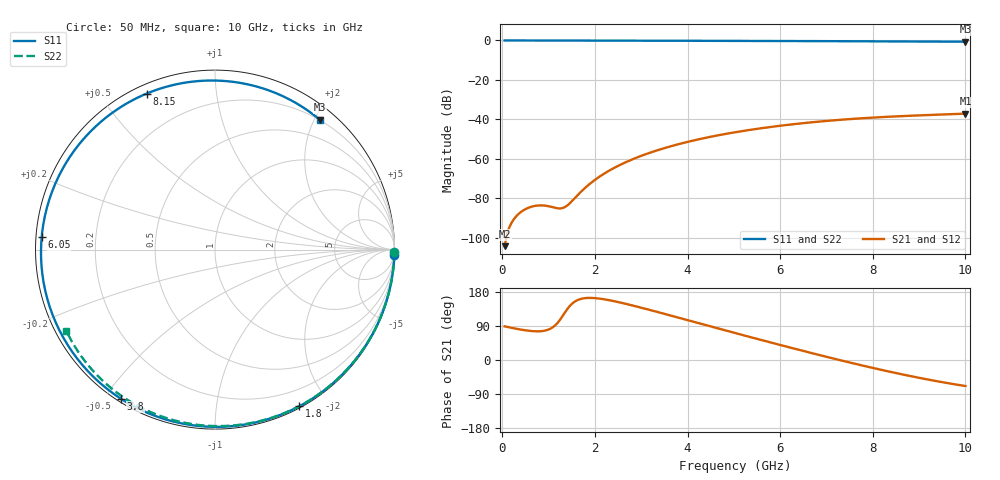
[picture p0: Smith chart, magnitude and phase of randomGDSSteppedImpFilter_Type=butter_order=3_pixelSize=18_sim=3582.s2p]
! freq	dB(S11)	phase(S11)	dB(S12)	phase(S12)
!  dB(S21)	phase(S21)	dB(S22)	phase(S22)
!S-par simulation data
#  GHz  S  DB  R 50
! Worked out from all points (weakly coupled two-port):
!   200 points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, 50 MHz to 10 GHz, reference 50 ohm
!   highest |S21| = -37.10 dB at 10 GHz (marker M1); lowest = -104.3 dB at 50 MHz (marker M2)
!   lowest |S11| = -0.6 dB at 10 GHz (marker M3), VSWR 27.40, Z = 9.72 + j104 ohm
!   |S11| at or under -10 dB: nowhere
!   |S22| runs from -0.5 to 0.0 dB; largest |S21 - S12| = 0
!   S11 on the Smith chart (normalised r, x): 50 MHz: 0, -64; 1.8 GHz: 0.02, -1.67; 3.8 GHz: 0.01, -0.55; 6.05 GHz: 0.02, +0.04; 8.15 GHz: 0.04, +0.65; 10 GHz: 0.19, +2.07
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0.05  -0.00 -1.8  -104.26 88.9  -104.26 88.9  -0.00 -0.9
0.75  -0.03 -26.4  -83.71 75.6  -83.71 75.6  -0.02 -13.0
1.55  -0.07 -53.5  -80.29 152.9  -80.29 152.9  -0.03 -26.7
1.75  -0.07 -60.1  -75.53 162.6  -75.53 162.6  -0.04 -30.1
1.8  -0.08 -61.8  -74.46 163.4  -74.46 163.4  -0.04 -30.9
2.1  -0.09 -71.4  -69.01 162.0  -69.01 162.0  -0.05 -35.9
2.45  -0.10 -82.4  -64.17 154.3  -64.17 154.3  -0.05 -41.7
2.9  -0.12 -96.1  -59.39 141.2  -59.39 141.2  -0.06 -49.1
3.4  -0.14 -110.8  -55.28 125.1  -55.28 125.1  -0.08 -57.1
3.8  -0.15 -122.2  -52.59 111.9  -52.59 111.9  -0.09 -63.4
4.45  -0.18 -140.3  -49.05 90.3  -49.05 90.3  -0.11 -73.4
5.05  -0.22 -156.7  -46.44 70.4  -46.44 70.4  -0.13 -82.4
5.55  -0.25 -170.4  -44.62 54.1  -44.62 54.1  -0.15 -89.8
6.05  -0.28 175.8  -43.08 38.1  -43.08 38.1  -0.17 -97.0
6.7  -0.33 157.5  -41.43 17.6  -41.43 17.6  -0.21 -106.1
7.4  -0.39 136.9  -40.03 -3.6  -40.03 -3.6  -0.25 -115.8
8.15  -0.45 113.7  -38.90 -25.1  -38.90 -25.1  -0.31 -126.1
8.35  -0.47 107.2  -38.65 -30.5  -38.65 -30.5  -0.33 -128.8
8.75  -0.51 94.1  -38.22 -40.9  -38.22 -40.9  -0.36 -134.2
9.15  -0.55 80.6  -37.83 -50.6  -37.83 -50.6  -0.41 -139.7
9.55  -0.59 66.8  -37.48 -59.6  -37.48 -59.6  -0.45 -145.2
10  -0.63 51.2  -37.10 -68.7  -37.10 -68.7  -0.50 -151.4
